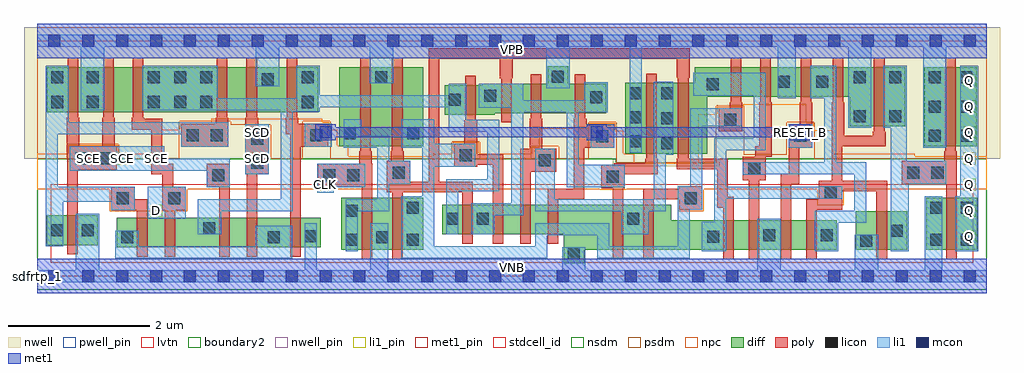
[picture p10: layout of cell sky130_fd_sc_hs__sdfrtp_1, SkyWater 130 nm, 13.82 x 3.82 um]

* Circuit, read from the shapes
.subckt sky130_fd_sc_hs__sdfrtp_1 CLK D Q RESET_B SCD SCE VGND VNB VPB VPWR
XM1 VGND SCE n1 VNB sky130_fd_pr__nfet_01v8_lvt w=0.42 l=0.15
XM2 n2 n1 n3 VNB sky130_fd_pr__nfet_01v8_lvt w=0.42 l=0.15
XM3 n4 D n2 VNB sky130_fd_pr__nfet_01v8_lvt w=0.42 l=0.15
XM4 n5 SCE n4 VNB sky130_fd_pr__nfet_01v8_lvt w=0.42 l=0.15
XM5 n3 SCD n5 VNB sky130_fd_pr__nfet_01v8_lvt w=0.42 l=0.15
XM6 VGND RESET_B n3 VNB sky130_fd_pr__nfet_01v8_lvt w=0.42 l=0.15
XM7 VGND CLK n6 VNB sky130_fd_pr__nfet_01v8_lvt w=0.74 l=0.15
XM8 n7 n6 VGND VNB sky130_fd_pr__nfet_01v8_lvt w=0.74 l=0.15
XM9 n8 n6 n4 VNB sky130_fd_pr__nfet_01v8_lvt w=0.42 l=0.15
XM10 n9 n7 n8 VNB sky130_fd_pr__nfet_01v8_lvt w=0.42 l=0.15
XM11 n10 n11 n9 VNB sky130_fd_pr__nfet_01v8_lvt w=0.42 l=0.15
XM12 VGND RESET_B n10 VNB sky130_fd_pr__nfet_01v8_lvt w=0.42 l=0.15
XM13 n11 n8 VGND VNB sky130_fd_pr__nfet_01v8_lvt w=0.64 l=0.15
XM14 n12 n7 n11 VNB sky130_fd_pr__nfet_01v8_lvt w=0.64 l=0.15
XM15 n13 n6 n12 VNB sky130_fd_pr__nfet_01v8_lvt w=0.42 l=0.15
XM16 VGND n14 n13 VNB sky130_fd_pr__nfet_01v8_lvt w=0.42 l=0.15
XM17 n15 RESET_B VGND VNB sky130_fd_pr__nfet_01v8_lvt w=0.42 l=0.15
XM18 n14 n12 n15 VNB sky130_fd_pr__nfet_01v8_lvt w=0.42 l=0.15
XM19 n16 n12 VGND VNB sky130_fd_pr__nfet_01v8_lvt w=0.55 l=0.15
XM20 Q n16 VGND VNB sky130_fd_pr__nfet_01v8_lvt w=0.74 l=0.15
XM21 VPWR SCE n1 VPB sky130_fd_pr__pfet_01v8 w=0.64 l=0.15
XM22 n17 SCE VPWR VPB sky130_fd_pr__pfet_01v8 w=0.64 l=0.15
XM23 n4 D n17 VPB sky130_fd_pr__pfet_01v8 w=0.64 l=0.15
XM24 n18 n1 n4 VPB sky130_fd_pr__pfet_01v8 w=0.64 l=0.15
XM25 VPWR SCD n18 VPB sky130_fd_pr__pfet_01v8 w=0.64 l=0.15
XM26 n4 RESET_B VPWR VPB sky130_fd_pr__pfet_01v8 w=0.64 l=0.15
XM27 VPWR CLK n6 VPB sky130_fd_pr__pfet_01v8 w=1.12 l=0.15
XM28 n7 n6 VPWR VPB sky130_fd_pr__pfet_01v8 w=1.12 l=0.15
XM29 n8 n7 n4 VPB sky130_fd_pr__pfet_01v8 w=0.42 l=0.15
XM30 n19 n6 n8 VPB sky130_fd_pr__pfet_01v8 w=0.42 l=0.15
XM31 VPWR n11 n19 VPB sky130_fd_pr__pfet_01v8 w=0.42 l=0.15
XM32 n8 RESET_B VPWR VPB sky130_fd_pr__pfet_01v8 w=0.42 l=0.15
XM33 n11 n8 VPWR VPB sky130_fd_pr__pfet_01v8 w=1 l=0.15
XM34 n12 n6 n11 VPB sky130_fd_pr__pfet_01v8 w=1 l=0.15
XM35 n20 n7 n12 VPB sky130_fd_pr__pfet_01v8 w=0.42 l=0.15
XM36 VPWR n14 n20 VPB sky130_fd_pr__pfet_01v8 w=0.42 l=0.15
XM37 n14 RESET_B VPWR VPB sky130_fd_pr__pfet_01v8 w=0.42 l=0.15
XM38 VPWR n12 n14 VPB sky130_fd_pr__pfet_01v8 w=0.42 l=0.15
XM39 n16 n12 VPWR VPB sky130_fd_pr__pfet_01v8 w=0.84 l=0.15
XM40 Q n16 VPWR VPB sky130_fd_pr__pfet_01v8 w=1.12 l=0.15
.ends

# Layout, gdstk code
import gdstk
lib = gdstk.Library(unit=1e-6, precision=1e-09)
def R(c, l, rs):  # rectangles x0, y0, x1, y1
    for r in rs: c.add(gdstk.rectangle(r[:2], r[2:], *l))
def A(c, l, x, y, w, h, nx, ny, dx, dy):  # array of equal rectangles
    R(c, l, [(x+i*dx, y+j*dy, x+i*dx+w, y+j*dy+h) for i in range(nx) for j in range(ny)])
def P(c, l, *ps):  # polygons
    for p in ps: c.add(gdstk.Polygon(p, *l))
nwell_pin = (64, 16)
nwell = (64, 20)
diff = (65, 20)
poly = (66, 20)
licon = (66, 44)
li1_pin = (67, 16)
li1 = (67, 20)
mcon = (67, 44)
met1_pin = (68, 16)
met1 = (68, 20)
stdcell_id = (81, 4)
nsdm = (93, 44)
psdm = (94, 20)
npc = (95, 20)
pwell_pin = (122, 16)
lvtn = (125, 44)
boundary2 = (236, 0)

sky130_fd_sc_hs__sdfrtp_ = lib.new_cell('sky130_fd_sc_hs__sdfrtp_1')
R(sky130_fd_sc_hs__sdfrtp_, nwell_pin, [(0,3.085,13.44,3.33)])
P(sky130_fd_sc_hs__sdfrtp_, nwell, [(13.63,3.52),(-0.19,3.52),(-0.19,1.66),(8.145,1.66),(8.145,1.555),(9.665,1.555),(9.665,1.66),(13.63,1.66)])
R(sky130_fd_sc_hs__sdfrtp_, diff, [(4.305,0.37,5.46,1.11), (11.59,0.37,12.315,0.92), (12.585,0.37,13.305,1.11), (1.125,0.405,4.015,0.825), (0.135,0.44,0.855,0.86), (4.275,1.84,5.465,2.96), (12.56,1.84,13.3,2.96), (0.135,2.32,3.975,2.96)])
P(sky130_fd_sc_hs__sdfrtp_, diff, [(8.055,2.725),(7.52,2.725),(7.52,2.97),(7.225,2.97),(7.225,2.725),(6.3,2.725),(6.3,2.705),(5.765,2.705),(5.765,2.285),(6.475,2.285),(6.475,2.305),(8.055,2.305)],
  [(11.32,0.79),(8.975,0.79),(8.975,1.01),(5.73,1.01),(5.73,0.59),(7.45,0.59),(7.45,0.18),(7.74,0.18),(7.74,0.37),(11.32,0.37)],
  [(12.29,2.96),(9.31,2.96),(9.31,2.735),(8.325,2.735),(8.325,1.735),(9.485,1.735),(9.485,2.54),(11.5,2.54),(11.5,2.12),(12.29,2.12)])
P(sky130_fd_sc_hs__sdfrtp_, poly, [(3.275,2.11),(3.125,2.11),(3.125,2.245),(3.11,2.245),(3.11,3.09),(2.96,3.09),(2.96,2.245),(2.945,2.245),(2.945,1.44),(2.965,1.44),(2.965,0.275),(3.115,0.275),(3.115,1.44),(3.275,1.44)],
  [(8.165,2.145),(7.775,2.145),(7.775,2.23),(7.76,2.23),(7.76,2.855),(7.61,2.855),(7.61,2.23),(7.595,2.23),(7.595,1.235),(7.225,1.235),(7.225,0.46),(7.375,0.46),(7.375,1.085),(7.745,1.085),(7.745,1.815),(8.165,1.815)],
  [(8.785,1.66),(8.77,1.66),(8.77,2.865),(8.62,2.865),(8.62,1.66),(8.605,1.66),(8.605,1.595),(8.165,1.595),(8.165,1.575),(7.985,1.575),(7.985,1.245),(8.145,1.245),(8.145,0.24),(8.295,0.24),(8.295,1.245),(8.315,1.245),(8.315,1.445),(8.785,1.445)],
  [(9.415,1.27),(9.085,1.27),(9.085,1.235),(8.575,1.235),(8.575,0.24),(8.725,0.24),(8.725,1.085),(9.085,1.085),(9.085,0.94),(9.415,0.94)],
  [(4.74,1.59),(4.735,1.59),(4.735,1.765),(4.72,1.765),(4.72,3.09),(4.57,3.09),(4.57,1.765),(4.555,1.765),(4.555,1.59),(3.97,1.59),(3.97,1.26),(4.59,1.26),(4.59,0.24),(4.74,0.24)],
  [(6.595,1.725),(6.23,1.725),(6.23,1.875),(6.225,1.875),(6.225,2.21),(6.21,2.21),(6.21,2.835),(6.06,2.835),(6.06,2.21),(6.045,2.21),(6.045,1.875),(5.9,1.875),(5.9,1.545),(6.23,1.545),(6.23,1.575),(6.445,1.575),(6.445,0.46),(6.595,0.46)],
  [(7.35,1.805),(7.15,1.805),(7.15,2.23),(7.135,2.23),(7.135,2.855),(6.985,2.855),(6.985,2.23),(6.97,2.23),(6.97,1.805),(6.835,1.805),(6.835,0.46),(6.985,0.46),(6.985,1.475),(7.35,1.475)],
  [(4.115,2.16),(3.695,2.16),(3.695,2.245),(3.68,2.245),(3.68,3.09),(3.53,3.09),(3.53,2.245),(3.515,2.245),(3.515,2.01),(3.58,2.01),(3.58,0.275),(3.73,0.275),(3.73,1.83),(4.115,1.83)],
  [(2.725,1.59),(2.395,1.59),(2.395,1.26),(2.575,1.26),(2.575,0.275),(2.725,0.275)],
  [(2.705,2.245),(2.69,2.245),(2.69,3.09),(2.54,3.09),(2.54,2.245),(2.525,2.245),(2.525,2.16),(2.035,2.16),(2.035,1.83),(2.705,1.83)],
  [(2.1,1.265),(1.92,1.265),(1.92,1.59),(1.765,1.59),(1.765,2.225),(1.515,2.225),(1.515,2.245),(1.5,2.245),(1.5,3.09),(1.35,3.09),(1.35,2.245),(1.335,2.245),(1.335,2.075),(1.615,2.075),(1.615,1.44),(1.77,1.44),(1.77,0.935),(1.8,0.935),(1.8,0.275),(1.95,0.275),(1.95,0.935),(2.1,0.935)],
  [(1.56,1.085),(1.375,1.085),(1.375,1.265),(1.045,1.265),(1.045,0.935),(1.41,0.935),(1.41,0.275),(1.56,0.275)],
  [(1.125,1.835),(1.095,1.835),(1.095,2.245),(1.08,2.245),(1.08,3.09),(0.93,3.09),(0.93,2.245),(0.915,2.245),(0.915,1.835),(0.595,1.835),(0.595,2.245),(0.58,2.245),(0.58,3.09),(0.43,3.09),(0.43,2.245),(0.415,2.245),(0.415,1.685),(0.42,1.685),(0.42,0.31),(0.57,0.31),(0.57,1.505),(1.125,1.505)],
  [(9.86,1.12),(9.775,1.12),(9.775,1.66),(9.22,1.66),(9.22,2.81),(9.235,2.81),(9.235,3.225),(5.54,3.225),(5.54,1.335),(5.28,1.335),(5.28,1.63),(5.185,1.63),(5.185,1.765),(5.17,1.765),(5.17,3.09),(5.02,3.09),(5.02,1.765),(5.005,1.765),(5.005,1.63),(4.95,1.63),(4.95,1.185),(5.025,1.185),(5.025,0.24),(5.175,0.24),(5.175,1.185),(6.015,1.185),(6.015,0.46),(6.165,0.46),(6.165,1.335),(5.69,1.335),(5.69,3.075),(6.55,3.075),(6.55,2.8),(6.565,2.8),(6.565,2.175),(6.715,2.175),(6.715,2.8),(6.73,2.8),(6.73,3.075),(9.055,3.075),(9.055,2.81),(9.07,2.81),(9.07,1.66),(9.055,1.66),(9.055,1.51),(9.625,1.51),(9.625,0.97),(9.71,0.97),(9.71,0.24),(9.86,0.24)],
  [(9.98,2.465),(9.965,2.465),(9.965,3.09),(9.815,3.09),(9.815,2.465),(9.8,2.465),(9.8,2.38),(9.645,2.38),(9.645,2.05),(9.98,2.05)],
  [(10.4,2.465),(10.385,2.465),(10.385,3.09),(10.235,3.09),(10.235,2.465),(10.22,2.465),(10.22,1.84),(10.165,1.84),(10.165,1.69),(9.985,1.69),(9.985,1.36),(10.07,1.36),(10.07,0.24),(10.22,0.24),(10.22,1.36),(10.315,1.36),(10.315,1.69),(10.4,1.69)],
  [(10.975,2.465),(10.96,2.465),(10.96,3.09),(10.81,3.09),(10.81,2.465),(10.795,2.465),(10.795,2.15),(10.64,2.15),(10.64,1.45),(10.525,1.45),(10.525,0.24),(10.675,0.24),(10.675,1.3),(10.79,1.3),(10.79,1.82),(10.975,1.82)],
  [(12.03,1.35),(11.395,1.35),(11.395,1.84),(12.01,1.84),(12.01,2.045),(11.995,2.045),(11.995,3.09),(11.845,3.09),(11.845,2.045),(11.83,2.045),(11.83,1.99),(11.425,1.99),(11.425,2.465),(11.41,2.465),(11.41,3.09),(11.26,3.09),(11.26,2.465),(11.245,2.465),(11.245,1.35),(11.065,1.35),(11.065,1.09),(10.885,1.09),(10.885,0.24),(11.035,0.24),(11.035,0.94),(11.395,0.94),(11.395,1.2),(11.88,1.2),(11.88,0.24),(12.03,0.24)],
  [(13.02,1.765),(13.005,1.765),(13.005,3.09),(12.855,3.09),(12.855,1.765),(12.84,1.765),(12.84,1.63),(12.24,1.63),(12.24,1.3),(12.87,1.3),(12.87,0.24),(13.02,0.24)])
A(sky130_fd_sc_hs__sdfrtp_, licon, 8.835, 1.795, 0.17, 0.17, 1, 3, 0, 0.355)
A(sky130_fd_sc_hs__sdfrtp_, licon, 8.385, 1.825, 0.17, 0.17, 1, 3, 0, 0.34)
A(sky130_fd_sc_hs__sdfrtp_, licon, 12.62, 1.9, 0.17, 0.17, 1, 3, 0, 0.415)
A(sky130_fd_sc_hs__sdfrtp_, licon, 13.07, 1.9, 0.17, 0.17, 1, 3, 0, 0.415)
A(sky130_fd_sc_hs__sdfrtp_, licon, 1.565, 2.38, 0.17, 0.17, 3, 2, 0.37, 0.35)
R(sky130_fd_sc_hs__sdfrtp_, licon, [(7.51,0.24,7.68,0.41), (11.65,0.415,11.82,0.585), (4.365,0.43,4.535,0.6), (5.23,0.43,5.4,0.6), (12.645,0.43,12.815,0.6), (13.075,0.43,13.245,0.6), (1.185,0.465,1.355,0.635), (3.26,0.465,3.43,0.635), (4.795,0.465,4.965,0.635), (9.485,0.475,9.655,0.645), (3.785,0.48,3.955,0.65), (10.275,0.495,10.445,0.665), (11.09,0.495,11.26,0.665), (12.085,0.56,12.255,0.73), (0.195,0.565,0.365,0.735), (0.625,0.565,0.795,0.735), (2.35,0.595,2.52,0.765), (5.79,0.725,5.96,0.895), (6.22,0.725,6.39,0.895), (8.35,0.725,8.52,0.895), (4.365,0.84,4.535,1.01), (5.23,0.88,5.4,1.05), (12.645,0.88,12.815,1.05), (13.075,0.88,13.245,1.05), (1.125,1.015,1.295,1.185), (1.85,1.015,2.02,1.185), (9.165,1.02,9.335,1.19), (11.145,1.1,11.315,1.27), (8.065,1.325,8.235,1.495), (2.475,1.34,2.645,1.51), (4.05,1.34,4.22,1.51), (4.39,1.34,4.56,1.51), (5.03,1.38,5.2,1.55), (12.32,1.38,12.49,1.55), (12.66,1.38,12.83,1.55), (10.065,1.44,10.235,1.61), (3.025,1.52,3.195,1.69), (7.1,1.555,7.27,1.725), (0.535,1.585,0.705,1.755), (0.875,1.585,1.045,1.755), (5.98,1.625,6.15,1.795), (3.025,1.86,3.195,2.03), (7.915,1.895,8.085,2.065), (10.72,1.9,10.89,2.07), (2.115,1.91,2.285,2.08), (2.455,1.91,2.625,2.08), (3.865,1.91,4.035,2.08), (4.335,1.935,4.505,2.105), (5.235,1.935,5.405,2.105), (9.725,2.13,9.895,2.3), (11.56,2.18,11.73,2.35), (12.06,2.18,12.23,2.35), (0.195,2.38,0.365,2.55), (0.695,2.38,0.865,2.55), (3.745,2.38,3.915,2.55), (5.825,2.41,5.995,2.58), (7.825,2.445,7.995,2.615), (6.33,2.47,6.5,2.64), (9.475,2.63,9.645,2.8), (10.485,2.665,10.655,2.835), (11.025,2.665,11.195,2.835), (3.175,2.705,3.345,2.875), (0.195,2.73,0.365,2.9), (0.695,2.73,0.865,2.9), (3.745,2.73,3.915,2.9), (4.785,2.73,4.955,2.9), (11.56,2.73,11.73,2.9), (12.06,2.73,12.23,2.9), (7.285,2.74,7.455,2.91)])
A(sky130_fd_sc_hs__sdfrtp_, li1_pin, 13.115, 0.47, 0.17, 0.17, 1, 7, 0, 0.37)
A(sky130_fd_sc_hs__sdfrtp_, li1_pin, 0.635, 1.58, 0.17, 0.17, 3, 1, 0.48, 0)
R(sky130_fd_sc_hs__sdfrtp_, li1_pin, [(1.595,0.84,1.765,1.01), (3.995,1.21,4.165,1.38), (3.035,1.58,3.205,1.75), (3.035,1.95,3.205,2.12)])
R(sky130_fd_sc_hs__sdfrtp_, li1, [(1.565,0.81,2.1,1.265), (2.945,1.44,3.275,2.15), (7.835,1.815,8.165,2.15), (10.64,1.82,10.97,2.15), (3.785,1.83,4.165,2.16)])
P(sky130_fd_sc_hs__sdfrtp_, li1, [(0,-0.085),(0,0.085),(0.545,0.085),(0.545,0.88),(0.875,0.88),(0.875,0.085),(3.785,0.085),(3.785,0.75),(3.955,0.75),(3.955,0.085),(4.715,0.085),(4.715,0.75),(4.965,0.75),(4.965,0.085),(7.43,0.085),(7.43,0.41),(7.76,0.41),(7.76,0.085),(10.195,0.085),(10.195,0.81),(10.525,0.81),(10.525,0.085),(11.57,0.085),(11.57,0.585),(11.905,0.585),(11.905,0.085),(12.565,0.085),(12.565,1.13),(12.815,1.13),(12.815,0.085),(13.44,0.085),(13.44,-0.085)],
  [(0,3.245),(0,3.415),(13.44,3.415),(13.44,3.245),(12.87,3.245),(12.87,1.82),(12.54,1.82),(12.54,3.245),(11.81,3.245),(11.81,2.1),(11.48,2.1),(11.48,3.245),(10.735,3.245),(10.735,2.52),(10.485,2.52),(10.485,3.245),(8.555,3.245),(8.555,1.745),(8.385,1.745),(8.385,3.245),(7.54,3.245),(7.54,2.66),(7.205,2.66),(7.205,3.245),(5.035,3.245),(5.035,2.73),(4.705,2.73),(4.705,3.245),(3.425,3.245),(3.425,2.685),(3.095,2.685),(3.095,3.245),(0.945,3.245),(0.945,2.345),(0.615,2.345),(0.615,3.245)],
  [(13.07,1.13),(13.07,2.98),(13.325,2.98),(13.325,0.35),(12.995,0.35),(12.995,1.13)],
  [(1.795,1.66),(2.725,1.66),(2.725,1.26),(2.395,1.26),(2.395,1.49),(0.455,1.49),(0.455,1.835),(1.795,1.835)],
  [(4.64,1.59),(4.64,1.26),(4.195,1.26),(4.195,1.18),(3.965,1.18),(3.965,1.59)],
  [(2.555,2.515),(3.665,2.515),(3.665,2.98),(3.995,2.98),(3.995,2.56),(5.825,2.56),(5.825,2.725),(6.075,2.725),(6.075,2.215),(6.54,2.215),(6.54,1.2),(5.96,1.2),(5.96,0.595),(5.79,0.595),(5.79,1.37),(6.37,1.37),(6.37,2.045),(5.825,2.045),(5.825,2.39),(3.995,2.39),(3.995,2.33),(3.615,2.33),(3.615,0.92),(2.6,0.92),(2.6,0.595),(2.27,0.595),(2.27,1.09),(3.445,1.09),(3.445,2.345),(1.485,2.345),(1.485,2.98),(2.555,2.98)],
  [(0.115,0.42),(0.115,2.98),(0.445,2.98),(0.445,2.175),(2.705,2.175),(2.705,1.83),(2.035,1.83),(2.035,2.005),(0.285,2.005),(0.285,1.265),(1.375,1.265),(1.375,0.935),(1.045,0.935),(1.045,1.05),(0.365,1.05),(0.365,0.42)],
  [(12.31,1.63),(12.87,1.63),(12.87,1.3),(12.335,1.3),(12.335,0.35),(12.085,0.35),(12.085,2.1),(11.98,2.1),(11.98,2.98),(12.31,2.98)],
  [(11.14,1.615),(11.14,2.52),(10.945,2.52),(10.945,2.98),(11.31,2.98),(11.31,1.615),(11.735,1.615),(11.735,0.755),(11.34,0.755),(11.34,0.35),(11.01,0.35),(11.01,0.925),(11.565,0.925),(11.565,1.445),(10.315,1.445),(10.315,1.435),(9.985,1.435),(9.985,1.615)],
  [(7.665,2.32),(7.665,1.575),(8.315,1.575),(8.315,1.26),(7.495,1.26),(7.495,2.32),(6.88,2.32),(6.88,0.86),(6.47,0.86),(6.47,0.595),(6.14,0.595),(6.14,1.03),(6.71,1.03),(6.71,2.385),(6.25,2.385),(6.25,2.725),(6.88,2.725),(6.88,2.49),(7.745,2.49),(7.745,2.745),(8.075,2.745),(8.075,2.32)],
  [(5.62,1.875),(6.2,1.875),(6.2,1.545),(5.62,1.545),(5.62,0.425),(7.05,0.425),(7.05,0.75),(8.1,0.75),(8.1,0.425),(9.065,0.425),(9.065,1.27),(9.245,1.27),(9.245,2.38),(9.975,2.38),(9.975,2.125),(9.415,2.125),(9.415,0.94),(9.235,0.94),(9.235,0.255),(7.93,0.255),(7.93,0.58),(7.22,0.58),(7.22,0.255),(5.15,0.255),(5.15,1.13),(5.45,1.13),(5.45,1.82),(5.155,1.82),(5.155,2.22),(5.62,2.22)],
  [(1.435,0.425),(3.09,0.425),(3.09,0.715),(3.605,0.715),(3.605,0.255),(1.105,0.255),(1.105,0.64),(1.435,0.64)],
  [(9.755,1.265),(11.065,1.265),(11.065,1.275),(11.395,1.275),(11.395,1.095),(9.755,1.095),(9.755,0.35),(9.405,0.35),(9.405,0.77),(9.585,0.77),(9.585,1.955),(10.145,1.955),(10.145,2.55),(9.29,2.55),(9.29,2.88),(10.315,2.88),(10.315,1.785),(9.755,1.785)],
  [(4.98,0.92),(4.535,0.92),(4.535,0.35),(4.365,0.35),(4.365,1.09),(4.81,1.09),(4.81,1.82),(4.335,1.82),(4.335,2.22),(4.585,2.22),(4.585,1.99),(4.98,1.99),(4.98,1.63),(5.28,1.63),(5.28,1.3),(4.98,1.3)],
  [(7.05,0.92),(7.05,1.805),(7.325,1.805),(7.325,1.09),(8.725,1.09),(8.725,2.755),(9.005,2.755),(9.005,1.715),(8.895,1.715),(8.895,0.92),(8.655,0.92),(8.655,0.595),(8.27,0.595),(8.27,0.92)])
A(sky130_fd_sc_hs__sdfrtp_, mcon, 0.155, -0.085, 0.17, 0.17, 28, 2, 0.48, 3.33)
R(sky130_fd_sc_hs__sdfrtp_, mcon, [(3.995,1.95,4.165,2.12), (7.835,1.95,8.005,2.12), (10.715,1.95,10.885,2.12)])
R(sky130_fd_sc_hs__sdfrtp_, met1_pin, [(0,0,13.44,0.245), (10.715,1.95,10.885,2.12), (0,3.085,13.44,3.33)])
R(sky130_fd_sc_hs__sdfrtp_, met1, [(0,-0.245,13.44,0.245), (0,3.085,13.44,3.575)])
P(sky130_fd_sc_hs__sdfrtp_, met1, [(8.065,2.105),(10.655,2.105),(10.655,2.15),(10.945,2.15),(10.945,1.92),(10.655,1.92),(10.655,1.965),(8.065,1.965),(8.065,1.92),(7.775,1.92),(7.775,1.965),(4.225,1.965),(4.225,1.92),(3.935,1.92),(3.935,2.15),(4.225,2.15),(4.225,2.105),(7.775,2.105),(7.775,2.15),(8.065,2.15)])
R(sky130_fd_sc_hs__sdfrtp_, stdcell_id, [(0,0,13.44,3.33)])
P(sky130_fd_sc_hs__sdfrtp_, nsdm, [(13.44,1.66),(9.615,1.66),(9.615,1.605),(8.195,1.605),(8.195,1.66),(0,1.66),(0,-0.19),(13.44,-0.19)])
P(sky130_fd_sc_hs__sdfrtp_, psdm, [(13.44,3.52),(0,3.52),(0,1.66),(0.425,1.66),(0.425,1.865),(1.155,1.865),(1.155,1.66),(2.005,1.66),(2.005,2.19),(2.735,2.19),(2.735,2.14),(3.305,2.14),(3.305,1.66),(3.755,1.66),(3.755,2.19),(4.145,2.19),(4.145,1.66),(5.87,1.66),(5.87,1.905),(6.26,1.905),(6.26,1.66),(6.99,1.66),(6.99,1.835),(7.38,1.835),(7.38,1.66),(7.805,1.66),(7.805,2.175),(8.195,2.175),(8.195,1.605),(9.615,1.605),(9.615,2.41),(10.005,2.41),(10.005,1.72),(10.61,1.72),(10.61,2.18),(11,2.18),(11,1.66),(13.44,1.66)])
P(sky130_fd_sc_hs__sdfrtp_, npc, [(13.44,1.7),(12.42,1.7),(12.42,1.73),(11.255,1.73),(11.255,2.065),(10.99,2.065),(10.99,2.17),(10.885,2.17),(10.885,2.435),(9.995,2.435),(9.995,2.4),(9.625,2.4),(9.625,2.295),(9.36,2.295),(9.36,1.595),(8.45,1.595),(8.45,1.735),(8.295,1.735),(8.295,2.06),(8.185,2.06),(8.185,2.165),(7.815,2.165),(7.815,2.09),(7.105,2.09),(7.105,1.825),(7,1.825),(7,1.73),(6.25,1.73),(6.25,1.895),(5.88,1.895),(5.88,1.73),(5.605,1.73),(5.605,1.7),(4.4,1.7),(4.4,1.845),(4.245,1.845),(4.245,2.075),(4.135,2.075),(4.135,2.18),(4.03,2.18),(4.03,2.23),(2.46,2.23),(2.46,2.18),(2.015,2.18),(2.015,2.075),(1.75,2.075),(1.75,1.73),(1.145,1.73),(1.145,1.855),(0.435,1.855),(0.435,1.73),(0,1.73),(0,1.23),(1.025,1.23),(1.025,0.915),(2.12,0.915),(2.12,1.23),(7.965,1.23),(7.965,1.225),(8.335,1.225),(8.335,1.23),(9.065,1.23),(9.065,0.92),(9.435,0.92),(9.435,1.23),(11.045,1.23),(11.045,1),(11.415,1),(11.415,1.23),(13.44,1.23)])
R(sky130_fd_sc_hs__sdfrtp_, pwell_pin, [(0,0,13.44,0.245)])
R(sky130_fd_sc_hs__sdfrtp_, lvtn, [(0.19,0.19,13.25,1.3)])
R(sky130_fd_sc_hs__sdfrtp_, boundary2, [(0,0,13.44,3.33)])
sky130_fd_sc_hs__sdfrtp_.add(gdstk.Label('sdfrtp_1', (0,0), layer=83, texttype=44))
sky130_fd_sc_hs__sdfrtp_.add(gdstk.Label('VNB', (6.72,0.123), layer=64, texttype=59))
sky130_fd_sc_hs__sdfrtp_.add(gdstk.Label('VPB', (6.72,3.208), layer=64, texttype=5))
sky130_fd_sc_hs__sdfrtp_.add(gdstk.Label('RESET_B', (10.8,2.035), layer=68, texttype=5))
sky130_fd_sc_hs__sdfrtp_.add(gdstk.Label('VPWR', (6.72,3.208), layer=68, texttype=5))
sky130_fd_sc_hs__sdfrtp_.add(gdstk.Label('VGND', (6.72,0.123), layer=68, texttype=5))
sky130_fd_sc_hs__sdfrtp_.add(gdstk.Label('Q', (13.2,0.555), layer=67, texttype=5))
sky130_fd_sc_hs__sdfrtp_.add(gdstk.Label('Q', (13.2,0.925), layer=67, texttype=5))
sky130_fd_sc_hs__sdfrtp_.add(gdstk.Label('Q', (13.2,1.295), layer=67, texttype=5))
sky130_fd_sc_hs__sdfrtp_.add(gdstk.Label('Q', (13.2,1.665), layer=67, texttype=5))
sky130_fd_sc_hs__sdfrtp_.add(gdstk.Label('Q', (13.2,2.035), layer=67, texttype=5))
sky130_fd_sc_hs__sdfrtp_.add(gdstk.Label('Q', (13.2,2.405), layer=67, texttype=5))
sky130_fd_sc_hs__sdfrtp_.add(gdstk.Label('Q', (13.2,2.775), layer=67, texttype=5))
sky130_fd_sc_hs__sdfrtp_.add(gdstk.Label('SCE', (0.72,1.665), layer=67, texttype=5))
sky130_fd_sc_hs__sdfrtp_.add(gdstk.Label('SCE', (1.2,1.665), layer=67, texttype=5))
sky130_fd_sc_hs__sdfrtp_.add(gdstk.Label('SCE', (1.68,1.665), layer=67, texttype=5))
sky130_fd_sc_hs__sdfrtp_.add(gdstk.Label('CLK', (4.08,1.295), layer=67, texttype=5))
sky130_fd_sc_hs__sdfrtp_.add(gdstk.Label('SCD', (3.12,1.665), layer=67, texttype=5))
sky130_fd_sc_hs__sdfrtp_.add(gdstk.Label('SCD', (3.12,2.035), layer=67, texttype=5))
sky130_fd_sc_hs__sdfrtp_.add(gdstk.Label('D', (1.68,0.925), layer=67, texttype=5))

lib.write_gds('sky130_fd_sc_hs__sdfrtp_1.gds')
